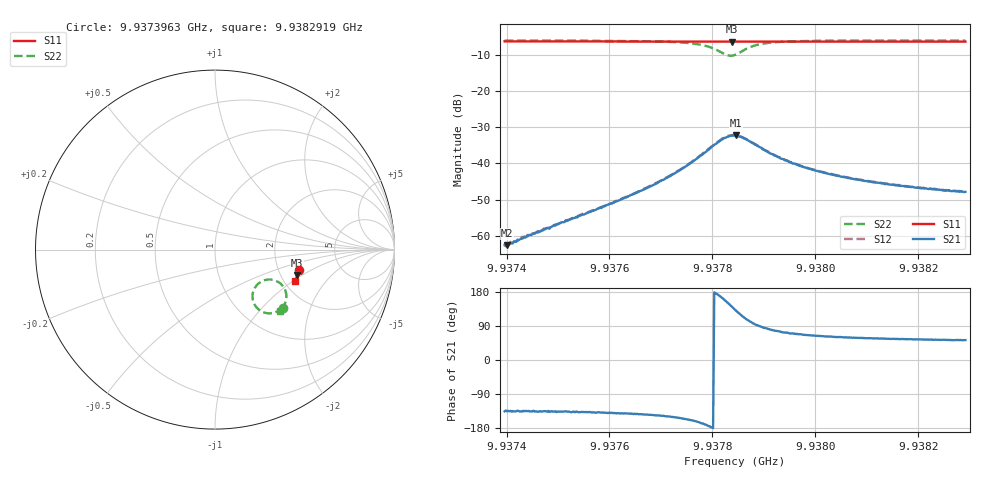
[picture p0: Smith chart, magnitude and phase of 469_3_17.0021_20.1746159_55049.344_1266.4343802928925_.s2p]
#  HZ  S  RI  R  50.00
! Rohde & Schwarz Vector Network Analyzer
! Rohde-Schwarz,ZNB20-2Port,1311601062101988,3.16
! Created: UTC 3/20/2024, 11:13:06 PM
! freq[Hz]  re:S11  im:S11  re:S21  im:S21  re:S12  im:S12  re:S22  im:S22
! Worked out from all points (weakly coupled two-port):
!   401 points, 9.9373963 GHz to 9.9382919 GHz, reference 50 ohm
!   highest |S21| = -32.29 dB at 9.9378463 GHz (marker M1); lowest = -62.5 dB at 9.9374008 GHz (marker M2)
!   lowest |S11| = -6.4 dB at 9.9378374 GHz (marker M3), VSWR 2.83, Z = 122 - j45.1 ohm
!   |S11| at or under -10 dB: nowhere
!   |S22| runs from -10.3 to -6.1 dB; largest |S21 - S12| = 0.00097
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9.93739632e9  0.4694 -0.115  -0.000537 -0.000528  -0.000536 -0.000502  0.3778 -0.3232
9.93740079e9  0.4691 -0.1151  -0.000531 -0.000525  -0.000538 -0.000524  0.3776 -0.3235
9.93741423e9  0.4689 -0.1161  -0.000598 -0.000584  -0.000596 -0.000583  0.3765 -0.3243
9.9374299e9  0.4685 -0.117  -0.000662 -0.000631  -0.000701 -0.000668  0.3751 -0.3258
9.93754632e9  0.4661 -0.1249  -0.00141 -0.00133  -0.00147 -0.00132  0.3627 -0.3357
9.93763812e9  0.4638 -0.1312  -0.00279 -0.0022  -0.00283 -0.00221  0.3463 -0.3453
9.93769633e9  0.4623 -0.1352  -0.00462 -0.00309  -0.00474 -0.003  0.3276 -0.352
9.93774111e9  0.4609 -0.1383  -0.00757 -0.00368  -0.00776 -0.00365  0.3015 -0.3552
9.93778813e9  0.4591 -0.1412  -0.0144 -0.00227  -0.0149 -0.0021  0.2465 -0.3359
9.93781724e9  0.4573 -0.1423  -0.0205 0.00514  -0.0207 0.00574  0.2093 -0.2694
9.93782843e9  0.4569 -0.1424  -0.0206 0.0107  -0.0208 0.0113  0.2152 -0.2269
9.93783739e9  0.4567 -0.1423  -0.0189 0.015  -0.0188 0.0157  0.2359 -0.1947
9.9378441e9  0.4568 -0.1425  -0.0164 0.0177  -0.0161 0.0186  0.2593 -0.1776
9.93784634e9  0.4569 -0.1425  -0.0155 0.0187  -0.0152 0.0192  0.2679 -0.1735
9.93787097e9  0.4576 -0.1437  -0.00493 0.0199  -0.00426 0.0203  0.3521 -0.1801
9.93789784e9  0.4577 -0.1456  0.00101 0.0157  0.00136 0.0159  0.3896 -0.2224
9.9379359e9  0.4571 -0.1487  0.00333 0.0111  0.00346 0.0112  0.3978 -0.2641
9.93796277e9  0.4564 -0.1505  0.00357 0.00908  0.00373 0.00907  0.3956 -0.2815
9.93799411e9  0.4557 -0.1529  0.00353 0.00744  0.00369 0.00741  0.3918 -0.2955
9.93807248e9  0.4538 -0.1581  0.0032 0.00527  0.0033 0.00529  0.3821 -0.3154
9.93814412e9  0.4517 -0.1626  0.00286 0.00425  0.00301 0.00426  0.3747 -0.3261
9.9382919e9  0.4476 -0.1722  0.00247 0.00322  0.00254 0.00318  0.3625 -0.3405
